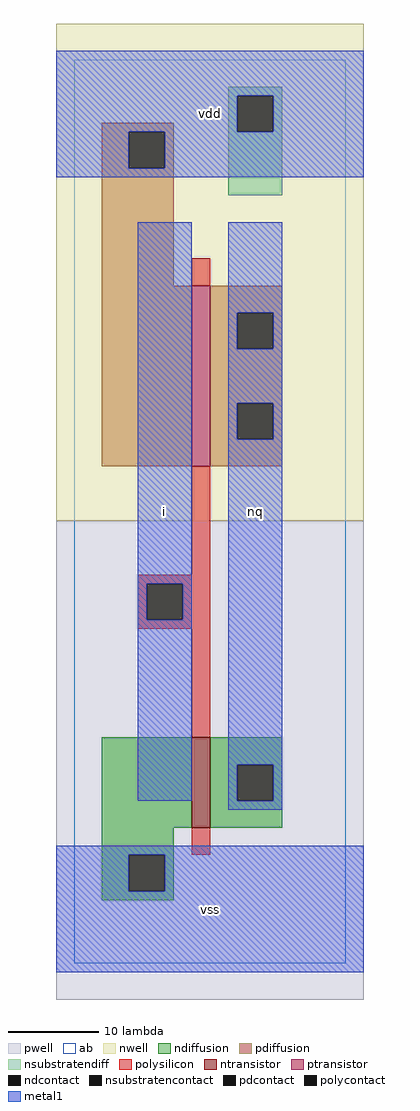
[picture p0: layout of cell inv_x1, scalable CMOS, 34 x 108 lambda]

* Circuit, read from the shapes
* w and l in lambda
.subckt inv_x1 i nq vdd vss
M1 nq i vss VSUBS nfet w=10 l=2
M2 nq i vdd vdd pfet w=20 l=2
.ends

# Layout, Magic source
magic
tech scmos
<< ab >>
rect 0 0 30 100
<< pwell >>
rect -2 -4 32 49
<< nwell >>
rect -2 49 32 104
<< polysilicon >>
rect 13 75 15 78
rect 13 43 15 55
rect 7 42 15 43
rect 7 38 8 42
rect 12 38 15 42
rect 7 37 15 38
rect 13 25 15 37
rect 13 12 15 15
<< ndiffusion >>
rect 3 15 13 25
rect 15 22 23 25
rect 15 18 18 22
rect 22 18 23 22
rect 15 15 23 18
rect 3 12 11 15
rect 3 8 6 12
rect 10 8 11 12
rect 3 7 11 8
<< pdiffusion >>
rect 3 92 11 93
rect 3 88 6 92
rect 10 88 11 92
rect 3 75 11 88
rect 3 55 13 75
rect 15 72 23 75
rect 15 68 18 72
rect 22 68 23 72
rect 15 62 23 68
rect 15 58 18 62
rect 22 58 23 62
rect 15 55 23 58
<< metal1 >>
rect -2 96 32 101
rect -2 92 18 96
rect 22 92 32 96
rect -2 88 6 92
rect 10 88 32 92
rect -2 87 32 88
rect 7 42 13 82
rect 7 38 8 42
rect 12 38 13 42
rect 7 18 13 38
rect 17 72 23 82
rect 17 68 18 72
rect 22 68 23 72
rect 17 62 23 68
rect 17 58 18 62
rect 22 58 23 62
rect 17 22 23 58
rect 17 18 18 22
rect 22 18 23 22
rect 17 17 23 18
rect -2 12 32 13
rect -2 8 6 12
rect 10 8 32 12
rect -2 -1 32 8
<< ntransistor >>
rect 13 15 15 25
<< ptransistor >>
rect 13 55 15 75
<< polycontact >>
rect 8 38 12 42
<< ndcontact >>
rect 18 18 22 22
rect 6 8 10 12
<< pdcontact >>
rect 6 88 10 92
rect 18 68 22 72
rect 18 58 22 62
<< nsubstratencontact >>
rect 18 92 22 96
<< nsubstratendiff >>
rect 17 96 23 97
rect 17 92 18 96
rect 22 92 23 96
rect 17 85 23 92
<< labels >>
rlabel metal1 15 6 15 6 6 vss
rlabel metal1 15 6 15 6 6 vss
rlabel metal1 10 50 10 50 6 i
rlabel metal1 10 50 10 50 6 i
rlabel metal1 15 94 15 94 6 vdd
rlabel metal1 15 94 15 94 6 vdd
rlabel metal1 20 50 20 50 6 nq
rlabel metal1 20 50 20 50 6 nq
<< end >>
